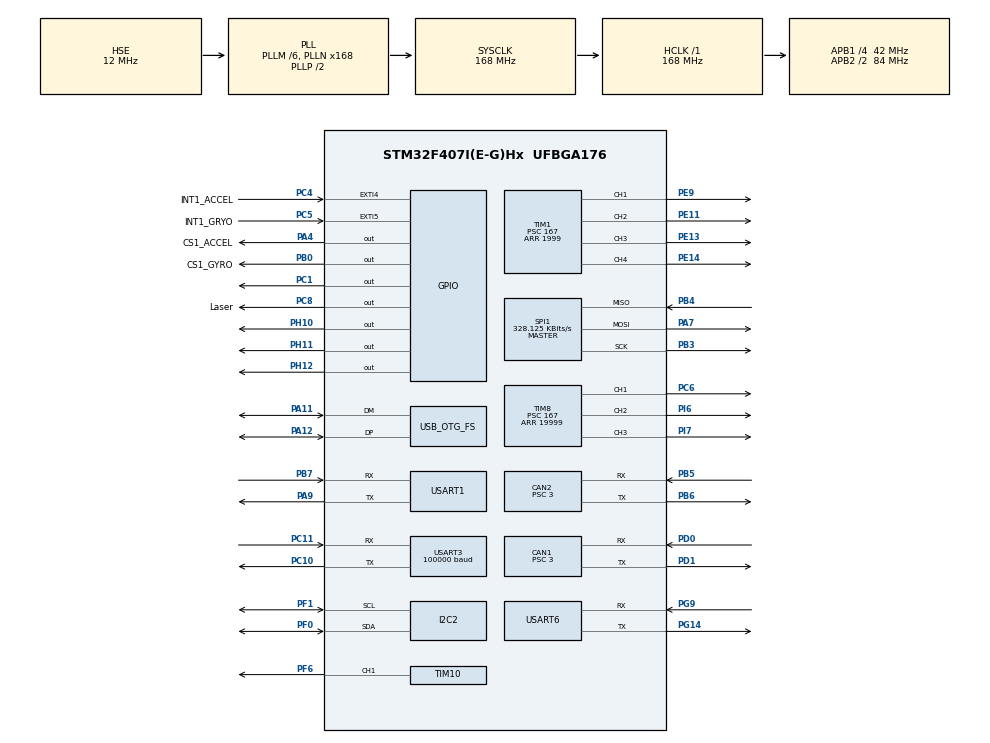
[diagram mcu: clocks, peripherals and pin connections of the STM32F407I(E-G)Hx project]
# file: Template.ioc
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CAN1.ABOM=ENABLE
CAN1.BS1=CAN_BS1_10TQ
CAN1.BS2=CAN_BS2_3TQ
CAN1.CalculateBaudRate=1000000
CAN1.CalculateTimeBit=1000
CAN1.CalculateTimeQuantum=71.42857142857143
CAN1.Prescaler=3
CAN2.BS1=CAN_BS1_10TQ
CAN2.BS2=CAN_BS2_3TQ
CAN2.CalculateBaudRate=1000000
CAN2.CalculateTimeBit=1000
CAN2.CalculateTimeQuantum=71.42857142857143
CAN2.Prescaler=3
Dma.Request0=SPI1_RX
Dma.Request1=SPI1_TX
Dma.Request2=USART6_RX
Dma.Request3=USART6_TX
Dma.Request4=USART3_RX
Dma.Request5=USART1_TX
Dma.Request6=USART1_RX
Dma.SPI1_RX.0.Direction=DMA_PERIPH_TO_MEMORY
Dma.SPI1_RX.0.FIFOMode=DMA_FIFOMODE_DISABLE
Dma.SPI1_RX.0.Instance=DMA2_Stream0
Dma.SPI1_RX.0.MemDataAlignment=DMA_MDATAALIGN_BYTE
Dma.SPI1_RX.0.MemInc=DMA_MINC_ENABLE
Dma.SPI1_RX.0.Mode=DMA_NORMAL
Dma.SPI1_RX.0.PeriphDataAlignment=DMA_PDATAALIGN_BYTE
Dma.SPI1_RX.0.PeriphInc=DMA_PINC_DISABLE
Dma.SPI1_RX.0.Priority=DMA_PRIORITY_VERY_HIGH
Dma.SPI1_TX.1.Direction=DMA_MEMORY_TO_PERIPH
Dma.SPI1_TX.1.FIFOMode=DMA_FIFOMODE_DISABLE
Dma.SPI1_TX.1.Instance=DMA2_Stream3
Dma.SPI1_TX.1.MemDataAlignment=DMA_MDATAALIGN_BYTE
Dma.SPI1_TX.1.MemInc=DMA_MINC_ENABLE
Dma.SPI1_TX.1.Mode=DMA_NORMAL
Dma.SPI1_TX.1.PeriphDataAlignment=DMA_PDATAALIGN_BYTE
Dma.SPI1_TX.1.PeriphInc=DMA_PINC_DISABLE
Dma.SPI1_TX.1.Priority=DMA_PRIORITY_HIGH
Dma.USART1_RX.6.Direction=DMA_PERIPH_TO_MEMORY
Dma.USART1_RX.6.FIFOMode=DMA_FIFOMODE_DISABLE
Dma.USART1_RX.6.Instance=DMA2_Stream2
Dma.USART1_RX.6.MemDataAlignment=DMA_MDATAALIGN_BYTE
Dma.USART1_RX.6.MemInc=DMA_MINC_ENABLE
Dma.USART1_RX.6.Mode=DMA_NORMAL
Dma.USART1_RX.6.PeriphDataAlignment=DMA_PDATAALIGN_BYTE
Dma.USART1_RX.6.PeriphInc=DMA_PINC_DISABLE
Dma.USART1_RX.6.Priority=DMA_PRIORITY_HIGH
Dma.USART1_TX.5.Direction=DMA_MEMORY_TO_PERIPH
Dma.USART1_TX.5.FIFOMode=DMA_FIFOMODE_DISABLE
Dma.USART1_TX.5.Instance=DMA2_Stream7
Dma.USART1_TX.5.MemDataAlignment=DMA_MDATAALIGN_BYTE
Dma.USART1_TX.5.MemInc=DMA_MINC_ENABLE
Dma.USART1_TX.5.Mode=DMA_NORMAL
Dma.USART1_TX.5.PeriphDataAlignment=DMA_PDATAALIGN_BYTE
Dma.USART1_TX.5.PeriphInc=DMA_PINC_DISABLE
Dma.USART1_TX.5.Priority=DMA_PRIORITY_HIGH
Dma.USART3_RX.4.Direction=DMA_PERIPH_TO_MEMORY
Dma.USART3_RX.4.FIFOMode=DMA_FIFOMODE_DISABLE
Dma.USART3_RX.4.Instance=DMA1_Stream1
Dma.USART3_RX.4.MemDataAlignment=DMA_MDATAALIGN_BYTE
Dma.USART3_RX.4.MemInc=DMA_MINC_ENABLE
Dma.USART3_RX.4.Mode=DMA_NORMAL
Dma.USART3_RX.4.PeriphDataAlignment=DMA_PDATAALIGN_BYTE
Dma.USART3_RX.4.PeriphInc=DMA_PINC_DISABLE
Dma.USART3_RX.4.Priority=DMA_PRIORITY_HIGH
Dma.USART6_RX.2.Direction=DMA_PERIPH_TO_MEMORY
Dma.USART6_RX.2.FIFOMode=DMA_FIFOMODE_DISABLE
Dma.USART6_RX.2.Instance=DMA2_Stream1
Dma.USART6_RX.2.MemDataAlignment=DMA_MDATAALIGN_BYTE
Dma.USART6_RX.2.MemInc=DMA_MINC_ENABLE
Dma.USART6_RX.2.Mode=DMA_NORMAL
Dma.USART6_RX.2.PeriphDataAlignment=DMA_PDATAALIGN_BYTE
Dma.USART6_RX.2.PeriphInc=DMA_PINC_DISABLE
Dma.USART6_RX.2.Priority=DMA_PRIORITY_HIGH
Dma.USART6_TX.3.Direction=DMA_MEMORY_TO_PERIPH
Dma.USART6_TX.3.FIFOMode=DMA_FIFOMODE_DISABLE
Dma.USART6_TX.3.Instance=DMA2_Stream6
Dma.USART6_TX.3.MemDataAlignment=DMA_MDATAALIGN_BYTE
Dma.USART6_TX.3.MemInc=DMA_MINC_ENABLE
Dma.USART6_TX.3.Mode=DMA_NORMAL
Dma.USART6_TX.3.PeriphDataAlignment=DMA_PDATAALIGN_BYTE
Dma.USART6_TX.3.PeriphInc=DMA_PINC_DISABLE
Dma.USART6_TX.3.Priority=DMA_PRIORITY_HIGH
FREERTOS.Tasks01=defaultTask,0,128,StartDefaultTask,Default,NULL,Dynamic,NULL,NULL
I2C2.I2C_Mode=I2C_Fast
Mcu.Family=STM32F4
Mcu.Name=STM32F407I(E-G)Hx
Mcu.Package=UFBGA176
NVIC.CAN1_RX0_IRQn=true\:5\:0\:false\:false\:true\:true\:true\:true\:true
NVIC.CAN2_RX0_IRQn=true\:5\:0\:false\:false\:true\:true\:true\:true\:true
NVIC.DMA1_Stream1_IRQn=true\:5\:0\:false\:false\:true\:true\:false\:true\:true
NVIC.DMA2_Stream0_IRQn=true\:5\:0\:false\:false\:false\:true\:false\:true\:true
NVIC.DMA2_Stream1_IRQn=true\:5\:0\:false\:false\:true\:true\:false\:true\:true
NVIC.DMA2_Stream2_IRQn=true\:5\:0\:false\:false\:true\:true\:false\:true\:true
NVIC.DMA2_Stream3_IRQn=true\:5\:0\:false\:false\:true\:true\:false\:true\:true
NVIC.DMA2_Stream6_IRQn=true\:5\:0\:false\:false\:true\:true\:false\:true\:true
NVIC.DMA2_Stream7_IRQn=true\:5\:0\:false\:false\:true\:true\:false\:true\:true
NVIC.EXTI4_IRQn=true\:5\:0\:false\:false\:true\:true\:true\:true\:true
NVIC.EXTI9_5_IRQn=true\:5\:0\:false\:false\:true\:true\:true\:true\:true
NVIC.OTG_FS_IRQn=true\:5\:0\:false\:false\:true\:true\:false\:true\:true
NVIC.PriorityGroup=NVIC_PRIORITYGROUP_4
NVIC.TIM2_IRQn=true\:5\:0\:false\:false\:true\:true\:true\:true\:true
NVIC.TIM3_IRQn=true\:5\:0\:false\:false\:false\:true\:true\:true\:true
NVIC.TIM4_IRQn=true\:5\:0\:false\:false\:false\:true\:true\:true\:true
NVIC.TIM5_IRQn=true\:5\:0\:false\:false\:false\:true\:true\:true\:true
NVIC.TIM6_DAC_IRQn=true\:5\:0\:false\:false\:false\:true\:true\:true\:true
NVIC.TIM7_IRQn=true\:15\:0\:false\:false\:true\:false\:false\:true\:true
NVIC.TimeBase=TIM7_IRQn
NVIC.TimeBaseIP=TIM7
NVIC.USART1_IRQn=true\:5\:0\:false\:false\:false\:true\:true\:true\:true
NVIC.USART3_IRQn=true\:5\:0\:false\:false\:false\:true\:true\:true\:true
NVIC.USART6_IRQn=true\:5\:0\:false\:false\:false\:true\:true\:true\:true
PA11.Mode=Device_Only
PA11.Signal=USB_OTG_FS_DM
PA12.Mode=Device_Only
PA12.Signal=USB_OTG_FS_DP
PA13.Mode=Serial_Wire
PA13.Signal=SYS_JTMS-SWDIO
PA14.Mode=Serial_Wire
PA14.Signal=SYS_JTCK-SWCLK
PA4.GPIO_Label=CS1_ACCEL
PA4.Signal=GPIO_Output
PA7.Mode=Full_Duplex_Master
PA7.Signal=SPI1_MOSI
PA9.Mode=Asynchronous
PA9.Signal=USART1_TX
PB0.GPIO_Label=CS1_GYRO
PB0.Signal=GPIO_Output
PB3.Mode=Full_Duplex_Master
PB3.Signal=SPI1_SCK
PB4.Mode=Full_Duplex_Master
PB4.Signal=SPI1_MISO
PB5.Mode=CAN_Activate
PB5.Signal=CAN2_RX
PB6.Mode=CAN_Activate
PB6.Signal=CAN2_TX
PB7.Mode=Asynchronous
PB7.Signal=USART1_RX
PC1.GPIO_PuPd=GPIO_PULLDOWN
PC1.Signal=GPIO_Output
PC10.Mode=Asynchronous
PC10.Signal=USART3_TX
PC11.Mode=Asynchronous
PC11.Signal=USART3_RX
PC4.GPIO_Label=INT1_ACCEL
PC4.Signal=GPXTI4
PC5.GPIO_Label=INT1_GRYO
PC5.Signal=GPXTI5
PC6.Signal=S_TIM8_CH1
PC8.GPIO_Label=Laser
PC8.Signal=GPIO_Output
PD0.Mode=CAN_Activate
PD0.Signal=CAN1_RX
PD1.Mode=CAN_Activate
PD1.Signal=CAN1_TX
PE11.Signal=S_TIM1_CH2
PE13.Signal=S_TIM1_CH3
PE14.Signal=S_TIM1_CH4
PE9.Signal=S_TIM1_CH1
PF0.GPIO_Pu=GPIO_PULLUP
PF0.Mode=I2C
PF0.Signal=I2C2_SDA
PF1.GPIO_Pu=GPIO_PULLUP
PF1.Mode=I2C
PF1.Signal=I2C2_SCL
PF6.Signal=S_TIM10_CH1
PG14.Mode=Asynchronous
PG14.Signal=USART6_TX
PG9.Mode=Asynchronous
PG9.Signal=USART6_RX
PH0-OSC_IN.Mode=HSE-External-Oscillator
PH0-OSC_IN.Signal=RCC_OSC_IN
PH1-OSC_OUT.Mode=HSE-External-Oscillator
PH1-OSC_OUT.Signal=RCC_OSC_OUT
PH10.Signal=GPIO_Output
PH11.Signal=GPIO_Output
PH12.Signal=GPIO_Output
PI6.Signal=S_TIM8_CH2
PI7.Signal=S_TIM8_CH3
ProjectManager.HeapSize=0x2000
ProjectManager.StackSize=0x2000
ProjectManager.TargetToolchain=MDK-ARM V5.32
RCC.48MHZClocksFreq_Value=48000000
RCC.AHBFreq_Value=168000000
RCC.APB1CLKDivider=RCC_HCLK_DIV4
RCC.APB1Freq_Value=42000000
RCC.APB1TimFreq_Value=84000000
RCC.APB2CLKDivider=RCC_HCLK_DIV2
RCC.APB2Freq_Value=84000000
RCC.APB2TimFreq_Value=168000000
RCC.CortexFreq_Value=168000000
RCC.HCLKFreq_Value=168000000
RCC.HSE_VALUE=12000000
RCC.HSI_VALUE=16000000
RCC.LSE_VALUE=32768
RCC.PLLM=6
RCC.PLLN=168
RCC.PLLQ=7
RCC.SYSCLKFreq_VALUE=168000000
RCC.SYSCLKSource=RCC_SYSCLKSOURCE_PLLCLK
RCC.VCOOutputFreq_Value=336000000
SH.S_TIM10_CH1.0=TIM10_CH1,PWM Generation1 CH1
SH.S_TIM1_CH1.0=TIM1_CH1,PWM Generation1 CH1
SH.S_TIM1_CH2.0=TIM1_CH2,PWM Generation2 CH2
SH.S_TIM1_CH3.0=TIM1_CH3,PWM Generation3 CH3
SH.S_TIM1_CH4.0=TIM1_CH4,PWM Generation4 CH4
SH.S_TIM8_CH1.0=TIM8_CH1,PWM Generation1 CH1
SH.S_TIM8_CH2.0=TIM8_CH2,PWM Generation2 CH2
SH.S_TIM8_CH3.0=TIM8_CH3,PWM Generation3 CH3
SPI1.BaudRatePrescaler=SPI_BAUDRATEPRESCALER_256
SPI1.CLKPhase=SPI_PHASE_2EDGE
SPI1.CLKPolarity=SPI_POLARITY_HIGH
SPI1.CalculateBaudRate=328.125 KBits/s
SPI1.Direction=SPI_DIRECTION_2LINES
SPI1.Mode=SPI_MODE_MASTER
SPI1.VirtualType=VM_MASTER
TIM1.Channel-PWM\ Generation1\ CH1=TIM_CHANNEL_1
TIM1.Channel-PWM\ Generation2\ CH2=TIM_CHANNEL_2
TIM1.Channel-PWM\ Generation3\ CH3=TIM_CHANNEL_3
TIM1.Channel-PWM\ Generation4\ CH4=TIM_CHANNEL_4
TIM1.Period=1999
TIM1.Prescaler=167
TIM1.Pulse-PWM\ Generation1\ CH1=0
TIM1.Pulse-PWM\ Generation2\ CH2=0
TIM1.Pulse-PWM\ Generation3\ CH3=0
TIM1.Pulse-PWM\ Generation4\ CH4=1000
TIM10.Channel=TIM_CHANNEL_1
TIM10.Period=4999
TIM2.Period=200-1
TIM2.Prescaler=84-1
TIM3.Period=999
TIM3.Prescaler=83
TIM4.Period=1999
TIM4.Prescaler=83
TIM5.Period=999
TIM5.Prescaler=83
TIM6.Period=9999
TIM6.Prescaler=83
TIM8.Channel-PWM\ Generation1\ CH1=TIM_CHANNEL_1
TIM8.Channel-PWM\ Generation2\ CH2=TIM_CHANNEL_2
TIM8.Channel-PWM\ Generation3\ CH3=TIM_CHANNEL_3
TIM8.Period=19999
TIM8.Prescaler=167
TIM8.Pulse-PWM\ Generation1\ CH1=1000
TIM8.Pulse-PWM\ Generation2\ CH2=1000
TIM8.Pulse-PWM\ Generation3\ CH3=1000
USART1.VirtualMode=VM_ASYNC
USART3.BaudRate=100000
USART3.Parity=PARITY_EVEN
USART3.VirtualMode=VM_ASYNC
USART6.VirtualMode=VM_ASYNC
USB_DEVICE.CLASS_NAME_FS=CDC
USB_DEVICE.VirtualMode-CDC_FS=Cdc
USB_DEVICE.VirtualModeFS=Cdc_FS
USB_OTG_FS.VirtualMode=Device_Only
VP_FREERTOS_VS_CMSIS_V1.Mode=CMSIS_V1
VP_SYS_VS_tim7.Mode=TIM7
VP_TIM10_VS_ClockSourceINT.Mode=Enable_Timer
VP_TIM1_VS_ClockSourceINT.Mode=Internal
VP_TIM2_VS_ClockSourceINT.Mode=Internal
VP_TIM3_VS_ClockSourceINT.Mode=Internal
VP_TIM4_VS_ClockSourceINT.Mode=Internal
VP_TIM5_VS_ClockSourceINT.Mode=Internal
VP_TIM6_VS_ClockSourceINT.Mode=Enable_Timer
VP_TIM8_VS_ClockSourceINT.Mode=Internal
VP_USB_DEVICE_VS_USB_DEVICE_CDC_FS.Mode=CDC_FS
board=custom

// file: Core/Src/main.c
/* USER CODE BEGIN Header */
/**
 ******************************************************************************
 * @file           : main.c
 * @brief          : Main program body
 ******************************************************************************
 * @attention
 *
 * Copyright (c) 2021 STMicroelectronics.
 * All rights reserved.
 *
 * This software is licensed under terms that can be found in the LICENSE file
 * in the root directory of this software component.
 * If no LICENSE file comes with this software, it is provided AS-IS.
 *
 ******************************************************************************
 */
/* USER CODE END Header */
#include "main.h"
#include "cmsis_os.h"
#include "can.h"
#include "dma.h"
#include "i2c.h"
#include "spi.h"
#include "tim.h"
#include "usart.h"
#include "usb_device.h"
#include "gpio.h"

/* USER CODE BEGIN Includes */
#include "bsp_delay.h"
#include "bsp_can.h"
#include "Remote.h"
#include "bsp_snail.h"
/* USER CODE END Includes */

void SystemClock_Config(void);
void MX_FREERTOS_Init(void);

int main(void)
{

  /* MCU Configuration--------------------------------------------------------*/

  /* Reset of all peripherals, Initializes the Flash interface and the Systick. */
  HAL_Init();

  /* Configure the system clock */
  SystemClock_Config();

  /* Initialize all configured peripherals */
  MX_GPIO_Init();
  MX_DMA_Init();
  MX_CAN1_Init();
  MX_SPI1_Init();
  MX_TIM5_Init();
  MX_TIM10_Init();
  MX_CAN2_Init();
  MX_USART1_UART_Init();
  MX_USART3_UART_Init();
  MX_USART6_UART_Init();
  MX_TIM3_Init();
  MX_TIM4_Init();
  MX_TIM1_Init();
  MX_TIM8_Init();
  MX_TIM6_Init();
  MX_TIM2_Init();
  MX_I2C2_Init();
  /* USER CODE BEGIN 2 */
  delay_init();
  remote_control_init();
  can_filter_init();
  HAL_TIM_Base_Start_IT(&htim2);
  HAL_TIM_Base_Start_IT(&htim3);
  HAL_Delay(1);
  HAL_TIM_Base_Start_IT(&htim4);
  HAL_Delay(1);
  HAL_TIM_Base_Start_IT(&htim6);

  HAL_TIM_PWM_Start(&htim10, TIM_CHANNEL_1);

  HAL_TIM_PWM_Start(&htim1, TIM_CHANNEL_1);

  HAL_GPIO_WritePin(LED_R_GPIO_Port, LED_R_Pin, GPIO_PIN_RESET);
  HAL_GPIO_WritePin(LED_G_GPIO_Port, LED_G_Pin, GPIO_PIN_RESET);
  HAL_GPIO_WritePin(LED_B_GPIO_Port, LED_B_Pin, GPIO_PIN_RESET);
  HAL_GPIO_WritePin(Laser_GPIO_Port, Laser_Pin, GPIO_PIN_SET);
  /* USER CODE END 2 */

  /* Call init function for freertos objects (in cmsis_os2.c) */
  MX_FREERTOS_Init();

  /* Start scheduler */
  osKernelStart();

  /* We should never get here as control is now taken by the scheduler */

  /* Infinite loop */
  while (1)
  {

  }
}

void SystemClock_Config(void)
{
  RCC_OscInitTypeDef RCC_OscInitStruct = {0};
  RCC_ClkInitTypeDef RCC_ClkInitStruct = {0};

  /** Configure the main internal regulator output voltage
  */
  __HAL_RCC_PWR_CLK_ENABLE();
  __HAL_PWR_VOLTAGESCALING_CONFIG(PWR_REGULATOR_VOLTAGE_SCALE1);

  /** Initializes the RCC Oscillators according to the specified parameters
  * in the RCC_OscInitTypeDef structure.
  */
  RCC_OscInitStruct.OscillatorType = RCC_OSCILLATORTYPE_HSE;
  RCC_OscInitStruct.HSEState = RCC_HSE_ON;
  RCC_OscInitStruct.PLL.PLLState = RCC_PLL_ON;
  RCC_OscInitStruct.PLL.PLLSource = RCC_PLLSOURCE_HSE;
  RCC_OscInitStruct.PLL.PLLM = 6;
  RCC_OscInitStruct.PLL.PLLN = 168;
  RCC_OscInitStruct.PLL.PLLP = RCC_PLLP_DIV2;
  RCC_OscInitStruct.PLL.PLLQ = 7;
  if (HAL_RCC_OscConfig(&RCC_OscInitStruct) != HAL_OK)
  {
    Error_Handler();
  }

  /** Initializes the CPU, AHB and APB buses clocks
  */
  RCC_ClkInitStruct.ClockType = RCC_CLOCKTYPE_HCLK|RCC_CLOCKTYPE_SYSCLK
                              |RCC_CLOCKTYPE_PCLK1|RCC_CLOCKTYPE_PCLK2;
  RCC_ClkInitStruct.SYSCLKSource = RCC_SYSCLKSOURCE_PLLCLK;
  RCC_ClkInitStruct.AHBCLKDivider = RCC_SYSCLK_DIV1;
  RCC_ClkInitStruct.APB1CLKDivider = RCC_HCLK_DIV4;
  RCC_ClkInitStruct.APB2CLKDivider = RCC_HCLK_DIV2;

  if (HAL_RCC_ClockConfig(&RCC_ClkInitStruct, FLASH_LATENCY_5) != HAL_OK)
  {
    Error_Handler();
  }
}

void HAL_TIM_PeriodElapsedCallback(TIM_HandleTypeDef *htim)
{
  if (htim->Instance == TIM7) {
    HAL_IncTick();
  }
}

void Error_Handler(void)
{
  __disable_irq();
  while (1)
  {
  }
}

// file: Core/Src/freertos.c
/* USER CODE BEGIN Header */
/**
  ******************************************************************************
  * File Name          : freertos.c
  * Description        : Code for freertos applications
  ******************************************************************************
  * @attention
  *
  * Copyright (c) 2021 STMicroelectronics.
  * All rights reserved.
  *
  * This software is licensed under terms that can be found in the LICENSE file
  * in the root directory of this software component.
  * If no LICENSE file comes with this software, it is provided AS-IS.
  *
  ******************************************************************************
  */
/* USER CODE END Header */

#include "FreeRTOS.h"
#include "task.h"
#include "main.h"
#include "cmsis_os.h"

/* USER CODE BEGIN Includes */
#include "AttitudeThread.h"
#include "CalculateThread.h"
#include "UIThread.h"
#include "RefereeThread.h"
/* USER CODE END Includes */

/* USER CODE BEGIN PTD */

osThreadId CalcThreadHandler;
osThreadId AttudThreadHandler;
osThreadId UIThreadHandler;
osThreadId RefereeHandle;
/* USER CODE END PTD */

osThreadId defaultTaskHandle;

void StartDefaultTask(void const * argument);

extern void MX_USB_DEVICE_Init(void);
void MX_FREERTOS_Init(void); /* (MISRA C 2004 rule 8.1) */

/* GetIdleTaskMemory prototype (linked to static allocation support) */
void vApplicationGetIdleTaskMemory( StaticTask_t **ppxIdleTaskTCBBuffer, StackType_t **ppxIdleTaskStackBuffer, uint32_t *pulIdleTaskStackSize );

/* USER CODE BEGIN GET_IDLE_TASK_MEMORY */
static StaticTask_t xIdleTaskTCBBuffer;
static StackType_t xIdleStack[configMINIMAL_STACK_SIZE];

void vApplicationGetIdleTaskMemory( StaticTask_t **ppxIdleTaskTCBBuffer, StackType_t **ppxIdleTaskStackBuffer, uint32_t *pulIdleTaskStackSize )
{
  *ppxIdleTaskTCBBuffer = &xIdleTaskTCBBuffer;
  *ppxIdleTaskStackBuffer = &xIdleStack[0];
  *pulIdleTaskStackSize = configMINIMAL_STACK_SIZE;
  /* place for user code */
}
/* USER CODE END GET_IDLE_TASK_MEMORY */

void MX_FREERTOS_Init(void) {

  /* Create the thread(s) */
  /* definition and creation of defaultTask */
  osThreadDef(defaultTask, StartDefaultTask, osPriorityNormal, 0, 128);
  defaultTaskHandle = osThreadCreate(osThread(defaultTask), NULL);

  /* USER CODE BEGIN RTOS_THREADS */
  /* add threads, ... */

  /* definition and creation of Attitude */
  osThreadDef(Attitude, AttitudeThread, osPriorityRealtime, 0, 1024);
  AttudThreadHandler = osThreadCreate(osThread(Attitude), NULL);

  /* definition and creation of Calculate */
  osThreadDef(Calculate, CalculateThread, osPriorityHigh, 0, 1024);
  CalcThreadHandler = osThreadCreate(osThread(Calculate), NULL);

  /* definition and creation of UI */
  osThreadDef(UI, UIThread, osPriorityNormal, 0, 512);
  UIThreadHandler = osThreadCreate(osThread(UI), NULL);

   osThreadDef(Referee, RefereeTask, osPriorityNormal, 0, 512);
  RefereeHandle = osThreadCreate(osThread(Referee), NULL);
  /* USER CODE END RTOS_THREADS */

}

void StartDefaultTask(void const * argument)
{
  /* init code for USB_DEVICE */
  MX_USB_DEVICE_Init();
  for(;;)
  {
    osDelay(1);
  }
}
